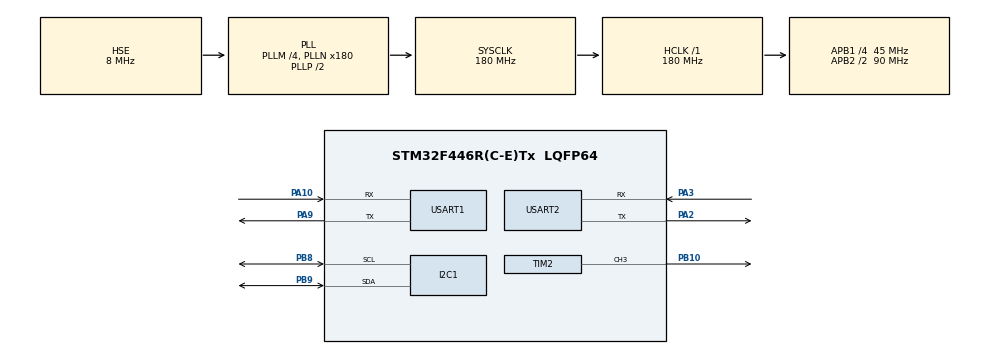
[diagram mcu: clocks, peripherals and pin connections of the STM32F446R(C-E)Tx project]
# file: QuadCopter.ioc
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Dma.I2C1_RX.1.Direction=DMA_PERIPH_TO_MEMORY
Dma.I2C1_RX.1.FIFOMode=DMA_FIFOMODE_DISABLE
Dma.I2C1_RX.1.Instance=DMA1_Stream0
Dma.I2C1_RX.1.MemDataAlignment=DMA_MDATAALIGN_BYTE
Dma.I2C1_RX.1.MemInc=DMA_MINC_ENABLE
Dma.I2C1_RX.1.Mode=DMA_NORMAL
Dma.I2C1_RX.1.PeriphDataAlignment=DMA_PDATAALIGN_BYTE
Dma.I2C1_RX.1.PeriphInc=DMA_PINC_DISABLE
Dma.I2C1_RX.1.Priority=DMA_PRIORITY_LOW
Dma.I2C1_TX.2.Direction=DMA_MEMORY_TO_PERIPH
Dma.I2C1_TX.2.FIFOMode=DMA_FIFOMODE_DISABLE
Dma.I2C1_TX.2.Instance=DMA1_Stream6
Dma.I2C1_TX.2.MemDataAlignment=DMA_MDATAALIGN_BYTE
Dma.I2C1_TX.2.MemInc=DMA_MINC_ENABLE
Dma.I2C1_TX.2.Mode=DMA_NORMAL
Dma.I2C1_TX.2.PeriphDataAlignment=DMA_PDATAALIGN_BYTE
Dma.I2C1_TX.2.PeriphInc=DMA_PINC_DISABLE
Dma.I2C1_TX.2.Priority=DMA_PRIORITY_LOW
Dma.Request0=TIM2_UP/CH3
Dma.Request1=I2C1_RX
Dma.Request2=I2C1_TX
Dma.TIM2_UP/CH3.0.Direction=DMA_MEMORY_TO_PERIPH
Dma.TIM2_UP/CH3.0.FIFOMode=DMA_FIFOMODE_DISABLE
Dma.TIM2_UP/CH3.0.Instance=DMA1_Stream1
Dma.TIM2_UP/CH3.0.MemDataAlignment=DMA_MDATAALIGN_WORD
Dma.TIM2_UP/CH3.0.MemInc=DMA_MINC_ENABLE
Dma.TIM2_UP/CH3.0.Mode=DMA_NORMAL
Dma.TIM2_UP/CH3.0.PeriphDataAlignment=DMA_PDATAALIGN_WORD
Dma.TIM2_UP/CH3.0.PeriphInc=DMA_PINC_DISABLE
Dma.TIM2_UP/CH3.0.Priority=DMA_PRIORITY_LOW
Mcu.Family=STM32F4
Mcu.Name=STM32F446R(C-E)Tx
Mcu.Package=LQFP64
NVIC.DMA1_Stream0_IRQn=true\:0\:0\:false\:false\:true\:false\:true\:true
NVIC.DMA1_Stream1_IRQn=true\:0\:0\:false\:false\:true\:false\:true\:true
NVIC.DMA1_Stream6_IRQn=true\:0\:0\:false\:false\:true\:false\:true\:true
NVIC.PriorityGroup=NVIC_PRIORITYGROUP_0
NVIC.USART1_IRQn=true\:0\:0\:false\:false\:true\:true\:true\:true
PA10.Mode=Asynchronous
PA10.Signal=USART1_RX
PA13.Mode=Serial_Wire
PA13.Signal=SYS_JTMS-SWDIO
PA14.Mode=Serial_Wire
PA14.Signal=SYS_JTCK-SWCLK
PA2.Mode=Asynchronous
PA2.Signal=USART2_TX
PA3.Mode=Asynchronous
PA3.Signal=USART2_RX
PA9.Mode=Asynchronous
PA9.Signal=USART1_TX
PB10.Signal=S_TIM2_CH3
PB8.Mode=I2C
PB8.Signal=I2C1_SCL
PB9.Mode=I2C
PB9.Signal=I2C1_SDA
PC14-OSC32_IN.Mode=LSE-External-Oscillator
PC14-OSC32_IN.Signal=RCC_OSC32_IN
PC15-OSC32_OUT.Mode=LSE-External-Oscillator
PC15-OSC32_OUT.Signal=RCC_OSC32_OUT
PH0-OSC_IN.Mode=HSE-External-Oscillator
PH0-OSC_IN.Signal=RCC_OSC_IN
PH1-OSC_OUT.Mode=HSE-External-Oscillator
PH1-OSC_OUT.Signal=RCC_OSC_OUT
ProjectManager.HeapSize=0x200
ProjectManager.StackSize=0x400
ProjectManager.TargetToolchain=Makefile
RCC.48MHZClocksFreq_Value=84000000
RCC.AHBFreq_Value=180000000
RCC.APB1CLKDivider=RCC_HCLK_DIV4
RCC.APB1Freq_Value=45000000
RCC.APB1TimFreq_Value=90000000
RCC.APB2CLKDivider=RCC_HCLK_DIV2
RCC.APB2Freq_Value=90000000
RCC.APB2TimFreq_Value=180000000
RCC.CortexFreq_Value=180000000
RCC.FLatency-AdvancedSettings=FLASH_LATENCY_5
RCC.HCLKFreq_Value=180000000
RCC.HSE_VALUE=8000000
RCC.HSI_VALUE=16000000
RCC.PLLM=4
RCC.PLLN=180
RCC.PLLSourceVirtual=RCC_PLLSOURCE_HSE
RCC.SYSCLKFreq_VALUE=180000000
RCC.SYSCLKSource=RCC_SYSCLKSOURCE_PLLCLK
RCC.USBFreq_Value=180000000
RCC.VCOOutputFreq_Value=360000000
SH.S_TIM2_CH3.0=TIM2_CH3,PWM Generation3 CH3
TIM2.Channel-PWM\ Generation3\ CH3=TIM_CHANNEL_3
TIM2.Period=20000-1
TIM2.Prescaler=90-1
TIM3.Period=20000-1
TIM3.Prescaler=90-1
USART1.VirtualMode=VM_ASYNC
USART2.VirtualMode=VM_ASYNC
VP_TIM2_VS_ClockSourceINT.Mode=Internal
VP_TIM3_VS_ClockSourceINT.Mode=Internal
board=NUCLEO-F446RE

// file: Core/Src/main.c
/* USER CODE BEGIN Header */
/**
  ******************************************************************************
  * @file           : main.c
  * @brief          : Main program body
  ******************************************************************************
  * @attention
  *
  * Copyright (c) 2023 STMicroelectronics.
  * All rights reserved.
  *
  * This software is licensed under terms that can be found in the LICENSE file
  * in the root directory of this software component.
  * If no LICENSE file comes with this software, it is provided AS-IS.
  *
  ******************************************************************************
  */
/* USER CODE END Header */
#include "main.h"

/* USER CODE BEGIN Includes */
#include <mpu6050.h>
#include <kalman_filter.h>
#include <bmp180_for_stm32_hal.h>
#include <HMC5883L.h>
/* USER CODE END Includes */

I2C_HandleTypeDef hi2c1;
DMA_HandleTypeDef hdma_i2c1_rx;
DMA_HandleTypeDef hdma_i2c1_tx;

TIM_HandleTypeDef htim2;
TIM_HandleTypeDef htim3;
DMA_HandleTypeDef hdma_tim2_up_ch3;

UART_HandleTypeDef huart1;
UART_HandleTypeDef huart2;

/* USER CODE BEGIN PV */
typedef struct
{
  int8_t Error;
  int8_t PreviousError;
  int8_t P;
  int8_t I;
  int8_t D;

  float Kp;
  float Ki;
  float Kd;
  float PID;

  uint16_t Roll_M;
  uint16_t Pitch_M;

  uint16_t M1;
  uint16_t M2;
  uint16_t M3;
  uint16_t M4;

}MotorControl;

mpu6050_t IMU;

MotorControl motor =
{
  .Kp = 8,
  .Ki = 15,
  .Kd = 1
};

kalman_t Kalman =
{
  .Q_theta = 0.003f,
  .Q_theta_dot = 0.001f,
  .R = 0.01f
};

double KalmanX;
double KalmanY;
float Roll_Input;
float Pitch_Input;
uint16_t Throttle_Input = 100;
float Yaw_Input = 0;
char Roll[30];
char Pitch[30];
char elapsedTimer[30];
uint32_t last_time;

/* USER CODE END PV */

void SystemClock_Config(void);
static void MX_GPIO_Init(void);
static void MX_DMA_Init(void);
static void MX_I2C1_Init(void);
static void MX_USART1_UART_Init(void);
static void MX_USART2_UART_Init(void);
static void MX_TIM2_Init(void);
static void MX_TIM3_Init(void);

/* USER CODE BEGIN 0 */

double PID_Control(double Desired_Angle ,double Angle, float dt)
{
  /* PID calculation */
  motor.Error = Desired_Angle - Angle;
  motor.P =  motor.Error;
  motor.I += (motor.Error*dt);
  /* prevent I term saturation*/
  if(motor.I > 400) motor.I = 400;
  else if(motor.I < -400) motor.I = -400;
  motor.D = ((motor.PreviousError - motor.Error)/dt);
  motor.PID = motor.Kp*motor.P + motor.Ki*motor.I + motor.Kd*motor.D;

  return motor.PID;
}

void motorControl(int Throttle, double Roll, double Pitch, double Yaw)
{
  motor.M1 = 1100 + Throttle - Roll - Pitch + Yaw; // CCW - Front left   - D3
  motor.M2 = 1100 + Throttle + Roll - Pitch - Yaw; // CW  - Back right   - D6
  motor.M3 = 1100 + Throttle + Roll + Pitch + Yaw; // CCW - Front right  - D5
  motor.M4 = 1100 + Throttle + Roll - Pitch - Yaw; // CW  - Back left    - D4

  if (motor.M1 > 1500) motor.M1 = 1500;
  if (motor.M2 > 1500) motor.M2 = 1500;
  if (motor.M3 > 1500) motor.M3 = 1500;
  if (motor.M4 > 1500) motor.M4 = 1500;

  // prevent.motor cut-off
  if (motor.M1 < 1150) motor.M1 = 1150;
  if (motor.M2 < 1150) motor.M2 = 1150;
  if (motor.M3 < 1150) motor.M3 = 1150;
  if (motor.M4 < 1150) motor.M4 = 1150;

  TIM2->CCR2 = motor.M1; // PB3  - D3
  TIM2->CCR3 = motor.M2; // PB10 - D6
  TIM3->CCR1 = motor.M3; // PB4  - D5
  TIM3->CCR2 = motor.M4; // PB5  - D4

  HAL_TIM_PWM_Start(&htim2,TIM_CHANNEL_2);
  HAL_TIM_PWM_Start(&htim2,TIM_CHANNEL_3);
  HAL_TIM_PWM_Start(&htim3,TIM_CHANNEL_1);
  HAL_TIM_PWM_Start(&htim3,TIM_CHANNEL_2);
}

void HAL_I2C_MemRxCpltCallback(I2C_HandleTypeDef *hi2c)
{
  /* Prevent unused argument(s) compilation warning */
  UNUSED(hi2c);
  if(hi2c->Instance == I2C1)
  {
    MPU6050_Calculate(&IMU);
    sprintf(Roll,"Roll_Input: %.2f\n\r",KalmanY);
    sprintf(Pitch,"Pitch_Input: %.2f\n\r",KalmanX);
    HAL_UART_Transmit(&huart2, Roll, sizeof(Roll),100);
    HAL_UART_Transmit(&huart2, Pitch, sizeof(Pitch),100);
  }

}

/* USER CODE END 0 */

int main(void)
{

  /* MCU Configuration--------------------------------------------------------*/

  /* Reset of all peripherals, Initializes the Flash interface and the Systick. */
  HAL_Init();

  /* Configure the system clock */
  SystemClock_Config();

  /* Initialize all configured peripherals */
  MX_GPIO_Init();
  MX_DMA_Init();
  MX_I2C1_Init();
  MX_USART1_UART_Init();
  MX_USART2_UART_Init();
  MX_TIM2_Init();
  MX_TIM3_Init();
  /* USER CODE BEGIN 2 */
  MPU6050_Init();
  BMP180_Init(&hi2c1);
	BMP180_SetOversampling(BMP180_ULTRA);
  BMP180_UpdateCalibrationData();

  for(int callib=0; callib < 2000; callib++)
  {
      MPU6050_Read(&IMU);
      IMU.Gx_Callib+=IMU.Gx;
      IMU.Gy_Callib+=IMU.Gy;
      IMU.Gz_Callib+=IMU.Gz;
      HAL_Delay(1);
  }

  IMU.Gx_Callib/=2000;
  IMU.Gy_Callib/=2000;
  IMU.Gz_Callib/=2000;

  /* USER CODE END 2 */

  /* Infinite loop */
  /* USER CODE BEGIN WHILE */
  while (1)
  {
    uint32_t current_time = HAL_GetTick();
    float dt =(float)(current_time - last_time) / 1.0;
    MPU6050_Read(&IMU);
    IMU.Gx -= IMU.Gx_Callib;
    IMU.Gy -= IMU.Gy_Callib;
    IMU.Gz -= IMU.Gz_Callib;
    /* USER CODE END WHILE */

    /* USER CODE BEGIN 3 */
    KalmanY  = Kalman_Filter(&Kalman, IMU.Gx, IMU.Roll, dt);
    KalmanX = Kalman_Filter(&Kalman, IMU.Gy, IMU.Pitch, dt);

    // Roll_Input  = PID_Control(0, KalmanX, dt);
    // Pitch_Input = PID_Control(0, KalmanY, dt);

    // motorControl(Throttle_Input, Roll_Input, Pitch_Input, Yaw_Input);
    last_time = current_time;
    /**
    * sprintf(Pitch,"Pitch: %.2f\n",KalmanPitch);
    * HAL_UART_Transmit(&huart2, Pitch, sizeof(Pitch),100);
    **/
    // sprintf(Roll,"Timer: %.2f\n",dt);
    // HAL_UART_Transmit(&huart2, Roll, sizeof(Roll),100);

    HAL_Delay(300);
  }
  /* USER CODE END 3 */
}

void SystemClock_Config(void)
{
  RCC_OscInitTypeDef RCC_OscInitStruct = {0};
  RCC_ClkInitTypeDef RCC_ClkInitStruct = {0};

  /** Configure the main internal regulator output voltage
  */
  __HAL_RCC_PWR_CLK_ENABLE();
  __HAL_PWR_VOLTAGESCALING_CONFIG(PWR_REGULATOR_VOLTAGE_SCALE1);

  /** Initializes the RCC Oscillators according to the specified parameters
  * in the RCC_OscInitTypeDef structure.
  */
  RCC_OscInitStruct.OscillatorType = RCC_OSCILLATORTYPE_HSE;
  RCC_OscInitStruct.HSEState = RCC_HSE_ON;
  RCC_OscInitStruct.PLL.PLLState = RCC_PLL_ON;
  RCC_OscInitStruct.PLL.PLLSource = RCC_PLLSOURCE_HSE;
  RCC_OscInitStruct.PLL.PLLM = 4;
  RCC_OscInitStruct.PLL.PLLN = 180;
  RCC_OscInitStruct.PLL.PLLP = RCC_PLLP_DIV2;
  RCC_OscInitStruct.PLL.PLLQ = 2;
  RCC_OscInitStruct.PLL.PLLR = 2;
  if (HAL_RCC_OscConfig(&RCC_OscInitStruct) != HAL_OK)
  {
    Error_Handler();
  }

  /** Activate the Over-Drive mode
  */
  if (HAL_PWREx_EnableOverDrive() != HAL_OK)
  {
    Error_Handler();
  }

  /** Initializes the CPU, AHB and APB buses clocks
  */
  RCC_ClkInitStruct.ClockType = RCC_CLOCKTYPE_HCLK|RCC_CLOCKTYPE_SYSCLK
                              |RCC_CLOCKTYPE_PCLK1|RCC_CLOCKTYPE_PCLK2;
  RCC_ClkInitStruct.SYSCLKSource = RCC_SYSCLKSOURCE_PLLCLK;
  RCC_ClkInitStruct.AHBCLKDivider = RCC_SYSCLK_DIV1;
  RCC_ClkInitStruct.APB1CLKDivider = RCC_HCLK_DIV4;
  RCC_ClkInitStruct.APB2CLKDivider = RCC_HCLK_DIV2;

  if (HAL_RCC_ClockConfig(&RCC_ClkInitStruct, FLASH_LATENCY_5) != HAL_OK)
  {
    Error_Handler();
  }
}

static void MX_I2C1_Init(void)
{

  hi2c1.Instance = I2C1;
  hi2c1.Init.ClockSpeed = 100000;
  hi2c1.Init.DutyCycle = I2C_DUTYCYCLE_2;
  hi2c1.Init.OwnAddress1 = 0;
  hi2c1.Init.AddressingMode = I2C_ADDRESSINGMODE_7BIT;
  hi2c1.Init.DualAddressMode = I2C_DUALADDRESS_DISABLE;
  hi2c1.Init.OwnAddress2 = 0;
  hi2c1.Init.GeneralCallMode = I2C_GENERALCALL_DISABLE;
  hi2c1.Init.NoStretchMode = I2C_NOSTRETCH_DISABLE;
  if (HAL_I2C_Init(&hi2c1) != HAL_OK)
  {
    Error_Handler();
  }

}

static void MX_TIM2_Init(void)
{

  TIM_ClockConfigTypeDef sClockSourceConfig = {0};
  TIM_MasterConfigTypeDef sMasterConfig = {0};
  TIM_OC_InitTypeDef sConfigOC = {0};

  htim2.Instance = TIM2;
  htim2.Init.Prescaler = 90-1;
  htim2.Init.CounterMode = TIM_COUNTERMODE_UP;
  htim2.Init.Period = 20000-1;
  htim2.Init.ClockDivision = TIM_CLOCKDIVISION_DIV1;
  htim2.Init.AutoReloadPreload = TIM_AUTORELOAD_PRELOAD_DISABLE;
  if (HAL_TIM_Base_Init(&htim2) != HAL_OK)
  {
    Error_Handler();
  }
  sClockSourceConfig.ClockSource = TIM_CLOCKSOURCE_INTERNAL;
  if (HAL_TIM_ConfigClockSource(&htim2, &sClockSourceConfig) != HAL_OK)
  {
    Error_Handler();
  }
  if (HAL_TIM_PWM_Init(&htim2) != HAL_OK)
  {
    Error_Handler();
  }
  sMasterConfig.MasterOutputTrigger = TIM_TRGO_RESET;
  sMasterConfig.MasterSlaveMode = TIM_MASTERSLAVEMODE_DISABLE;
  if (HAL_TIMEx_MasterConfigSynchronization(&htim2, &sMasterConfig) != HAL_OK)
  {
    Error_Handler();
  }
  sConfigOC.OCMode = TIM_OCMODE_PWM1;
  sConfigOC.Pulse = 0;
  sConfigOC.OCPolarity = TIM_OCPOLARITY_HIGH;
  sConfigOC.OCFastMode = TIM_OCFAST_DISABLE;
  if (HAL_TIM_PWM_ConfigChannel(&htim2, &sConfigOC, TIM_CHANNEL_3) != HAL_OK)
  {
    Error_Handler();
  }
  HAL_TIM_MspPostInit(&htim2);

}

static void MX_TIM3_Init(void)
{

  TIM_ClockConfigTypeDef sClockSourceConfig = {0};
  TIM_MasterConfigTypeDef sMasterConfig = {0};

  htim3.Instance = TIM3;
  htim3.Init.Prescaler = 90-1;
  htim3.Init.CounterMode = TIM_COUNTERMODE_UP;
  htim3.Init.Period = 20000-1;
  htim3.Init.ClockDivision = TIM_CLOCKDIVISION_DIV1;
  htim3.Init.AutoReloadPreload = TIM_AUTORELOAD_PRELOAD_DISABLE;
  if (HAL_TIM_Base_Init(&htim3) != HAL_OK)
  {
    Error_Handler();
  }
  sClockSourceConfig.ClockSource = TIM_CLOCKSOURCE_INTERNAL;
  if (HAL_TIM_ConfigClockSource(&htim3, &sClockSourceConfig) != HAL_OK)
  {
    Error_Handler();
  }
  sMasterConfig.MasterOutputTrigger = TIM_TRGO_RESET;
  sMasterConfig.MasterSlaveMode = TIM_MASTERSLAVEMODE_DISABLE;
  if (HAL_TIMEx_MasterConfigSynchronization(&htim3, &sMasterConfig) != HAL_OK)
  {
    Error_Handler();
  }

}

static void MX_USART1_UART_Init(void)
{

  huart1.Instance = USART1;
  huart1.Init.BaudRate = 115200;
  huart1.Init.WordLength = UART_WORDLENGTH_8B;
  huart1.Init.StopBits = UART_STOPBITS_1;
  huart1.Init.Parity = UART_PARITY_NONE;
  huart1.Init.Mode = UART_MODE_TX_RX;
  huart1.Init.HwFlowCtl = UART_HWCONTROL_NONE;
  huart1.Init.OverSampling = UART_OVERSAMPLING_16;
  if (HAL_UART_Init(&huart1) != HAL_OK)
  {
    Error_Handler();
  }

}

static void MX_USART2_UART_Init(void)
{

  huart2.Instance = USART2;
  huart2.Init.BaudRate = 115200;
  huart2.Init.WordLength = UART_WORDLENGTH_8B;
  huart2.Init.StopBits = UART_STOPBITS_1;
  huart2.Init.Parity = UART_PARITY_NONE;
  huart2.Init.Mode = UART_MODE_TX_RX;
  huart2.Init.HwFlowCtl = UART_HWCONTROL_NONE;
  huart2.Init.OverSampling = UART_OVERSAMPLING_16;
  if (HAL_UART_Init(&huart2) != HAL_OK)
  {
    Error_Handler();
  }

}

static void MX_DMA_Init(void)
{

  /* DMA controller clock enable */
  __HAL_RCC_DMA1_CLK_ENABLE();

  /* DMA interrupt init */
  /* DMA1_Stream0_IRQn interrupt configuration */
  HAL_NVIC_SetPriority(DMA1_Stream0_IRQn, 0, 0);
  HAL_NVIC_EnableIRQ(DMA1_Stream0_IRQn);
  /* DMA1_Stream1_IRQn interrupt configuration */
  HAL_NVIC_SetPriority(DMA1_Stream1_IRQn, 0, 0);
  HAL_NVIC_EnableIRQ(DMA1_Stream1_IRQn);
  /* DMA1_Stream6_IRQn interrupt configuration */
  HAL_NVIC_SetPriority(DMA1_Stream6_IRQn, 0, 0);
  HAL_NVIC_EnableIRQ(DMA1_Stream6_IRQn);

}

static void MX_GPIO_Init(void)
{

  /* GPIO Ports Clock Enable */
  __HAL_RCC_GPIOC_CLK_ENABLE();
  __HAL_RCC_GPIOH_CLK_ENABLE();
  __HAL_RCC_GPIOA_CLK_ENABLE();
  __HAL_RCC_GPIOB_CLK_ENABLE();

}

void Error_Handler(void)
{
  __disable_irq();
  while (1)
  {
  }
}
